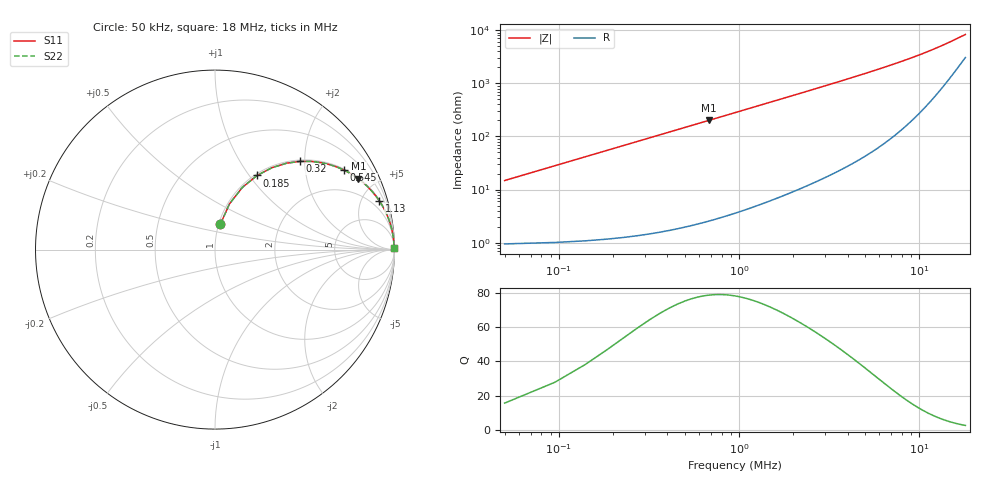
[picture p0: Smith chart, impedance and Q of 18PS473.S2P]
! Coilcraft 1812PS-473 Power Chip Inductor
! 1 October 2002
# MHZ S MA R 50
!Freq  MagS11  AngS11  MagS21  AngS21  MagS12  AngS12  MagS22  AngS22
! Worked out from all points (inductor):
!   400 points, 50 kHz to 18 MHz, reference 50 ohm
!   read as one part in series: L = 47 uH near 140 kHz
!   highest Q = 78.8 at 680 kHz (marker M1), where L = 47 uH
!   S11 on the Smith chart (normalised r, x): 50 kHz: 1.02, +0.30; 185 kHz: 1.02, +1.09; 320 kHz: 1.03, +1.89; 545 kHz: 1.04, +3.22; 1.13 MHz: 1.09, +6.69; 18 MHz: open
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0.05  0.145 78.0  0.9802 -8.3  0.9802 -8.3  0.145 78.0
0.095  0.2678 72.4  0.9539 -15.5  0.9539 -15.5  0.2678 72.4
0.14  0.3787 66.3  0.9157 -22.2  0.9157 -22.2  0.3787 66.3
0.185  0.4753 60.4  0.8697 -28.4  0.8697 -28.4  0.4753 60.4
0.23  0.5572 55.1  0.8201 -33.9  0.8201 -33.9  0.5572 55.1
0.32  0.6817 46.1  0.7212 -43.0  0.7212 -43.0  0.6817 46.1
0.41  0.7659 39.2  0.6323 -50.0  0.6323 -50.0  0.7659 39.2
0.545  0.8446 31.6  0.5245 -57.6  0.5245 -57.6  0.8446 31.6
0.68  0.8908 26.3  0.4433 -63.0  0.4433 -63.0  0.8908 26.3
0.86  0.9266 21.4  0.3644 -67.9  0.3644 -67.9  0.9266 21.4
1.13  0.9546 16.6  0.2855 -72.7  0.2855 -72.7  0.9546 16.6
1.49  0.9724 12.7  0.2202 -76.5  0.2202 -76.5  0.9724 12.7
1.94  0.9828 9.8  0.1706 -79.3  0.1706 -79.3  0.9828 9.8
2.48  0.9888 7.7  0.1337 -81.3  0.1337 -81.3  0.9888 7.7
3.065  0.9921 6.2  0.108 -82.7  0.108 -82.7  0.9921 6.2
4.37  0.9954 4.3  0.0749 -84.3  0.0749 -84.3  0.9954 4.3
6.035  0.9968 3.0  0.05289 -85.0  0.05289 -85.0  0.9968 3.0
7.43  0.9972 2.4  0.04176 -85.0  0.04176 -85.0  0.9972 2.4
9.05  0.9973 1.9  0.03292 -84.4  0.03292 -84.4  0.9973 1.9
12.02  0.997 1.3  0.02257 -81.7  0.02257 -81.7  0.997 1.3
15.035  0.9963 0.9  0.01608 -76.4  0.01608 -76.4  0.9963 0.9
18  0.9955 0.6  0.01196 -67.7  0.01196 -67.7  0.9955 0.6
